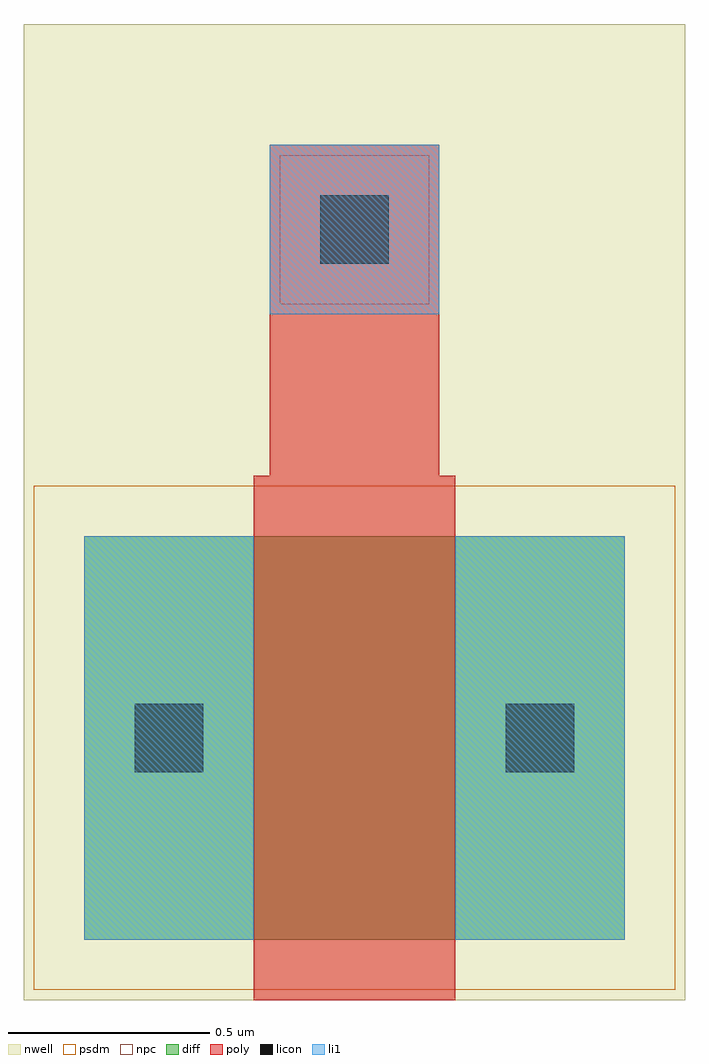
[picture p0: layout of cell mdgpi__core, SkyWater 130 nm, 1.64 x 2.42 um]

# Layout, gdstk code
import gdstk
lib = gdstk.Library(unit=1e-6, precision=1e-09)
def R(c, l, rs):  # rectangles x0, y0, x1, y1
    for r in rs: c.add(gdstk.rectangle(r[:2], r[2:], *l))
nwell = (64, 20)
diff = (65, 20)
poly = (66, 20)
licon = (66, 44)
li1 = (67, 20)
psdm = (94, 20)
npc = (95, 20)

mdgpi__core = lib.new_cell('mdgpi__core')
R(mdgpi__core, nwell, [(-0.15,-0.15,1.49,2.27)])
R(mdgpi__core, diff, [(0,0,1.34,1)])
R(mdgpi__core, poly, [(0.42,-0.15,0.92,1), (0.42,1,0.92,1.15), (0.42,1,0.92,1.15), (0.46,1.15,0.88,1.97)])
R(mdgpi__core, licon, [(0.125,0.415,0.295,0.585), (1.045,0.415,1.215,0.585), (0.585,1.675,0.755,1.845)])
R(mdgpi__core, li1, [(0,0,0.42,1), (0.92,0,1.34,1), (0.46,1.55,0.88,1.97)])
R(mdgpi__core, psdm, [(-0.125,-0.125,1.465,1.125)])
R(mdgpi__core, npc, [(0.485,1.575,0.855,1.945)])

lib.write_gds('mdgpi__core.gds')
